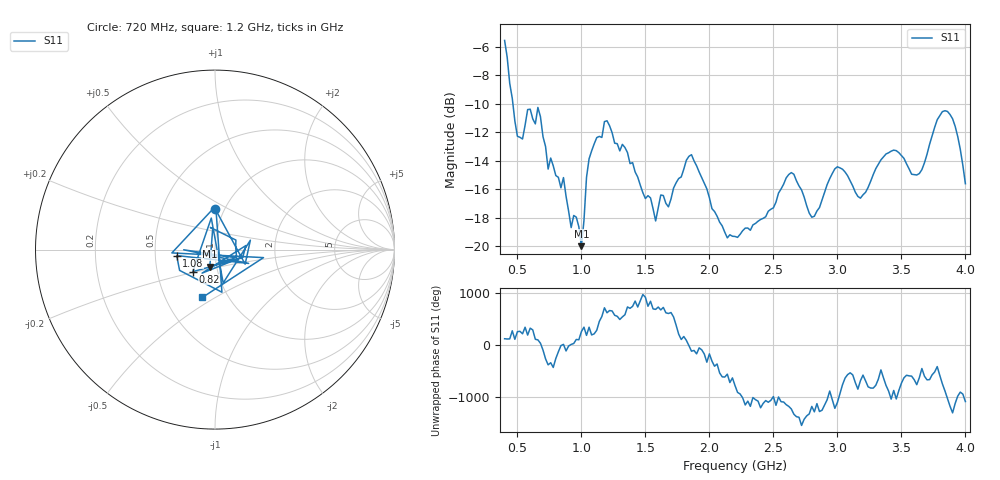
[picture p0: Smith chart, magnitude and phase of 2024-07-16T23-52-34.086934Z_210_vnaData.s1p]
!Created with skrf (http://scikit-rf.org).
# Hz S RI R 50.0
!freq ReS11 ImS11
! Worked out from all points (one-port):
!   181 points, 400 MHz to 4 GHz, reference 50 ohm
!   lowest |S11| = -20.0 dB at 1 GHz (marker M1), VSWR 1.22, Z = 46.4 - j8.95 ohm
!   |S11| at or under -10 dB: 464.9 MHz to end of sweep
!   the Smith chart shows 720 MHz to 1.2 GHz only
!   S11 on the Smith chart (normalised r, x): 720 MHz: 0.91, +0.43; 820 MHz: 0.76, -0.19; 1.08 GHz: 0.65, -0.05; 1.2 GHz: 0.76, -0.44
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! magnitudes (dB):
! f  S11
! 400 MHz  -5.5
! 500 MHz  -12.3
! 660 MHz  -10.2
! 720 MHz  -13.0
! 820 MHz  -15.2
! 860 MHz  -15.2
! 920 MHz  -18.7
! 960 MHz  -18.0
! 1 GHz  -20.0
! 1.04 GHz  -15.2
! 1.08 GHz  -13.3
! 1.2 GHz  -11.2
! 1.3 GHz  -13.3
! 1.58 GHz  -18.2
! 1.76 GHz  -15.3
! 1.86 GHz  -13.6
! 2.2 GHz  -19.3
! 2.66 GHz  -15.0
! 2.8 GHz  -18.0
! 2.98 GHz  -14.6
! 3.1 GHz  -15.4
! 3.18 GHz  -16.6
! 3.44 GHz  -13.3
! 3.56 GHz  -14.6
! 3.66 GHz  -14.6
! 3.84 GHz  -10.5
! 3.92 GHz  -11.6
! 4 GHz  -15.6
